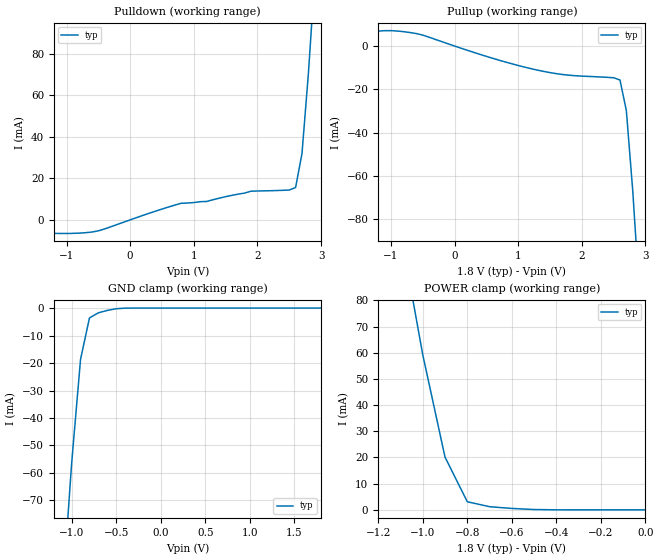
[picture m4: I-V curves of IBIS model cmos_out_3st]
| [Disclaimer]
| [Copyright] copyright (c)2010 Analog Devices, All rights reserved.
| From ad9361_1p8_cmos_r2.ibs, AD9361, Analog Devices
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[model] cmos_out_3st
Model_type 3-state
Cref  =   3.000pF
Rref  =   10kOhm
Vref  =   1.8V
Vmeas =   1.5V
C_comp   4pF   NA   NA
[Voltage Range]   1.800V  NA   NA
[GND Clamp Reference]   0.000V  NA   NA
[POWER Clamp Reference] 1.800V  NA   NA
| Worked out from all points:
|   slope of the pulldown table from 0 to 0.27 V, typ, clamps not added: 93.9 ohm
|   slope of the pullup table from 0 to 0.27 V, typ, clamps not added: 102 ohm
|   GND clamp passes 1 mA (typ) near -0.62 V on its own axis
|   POWER clamp passes 1 mA (typ) near -0.67 V on its own axis
[GND Clamp]
| Voltage  I(typ)   I(min)  I(max)
-1.8V     -472.8mA   NA         NA
-1.1V     -103.1mA   NA         NA
-1V       -56.47mA   NA         NA
-900mV    -18.66mA   NA         NA
-800mV    -3.584mA   NA         NA
-700mV    -1.725mA   NA         NA
-500mV    -242.9uA   NA         NA
-400mV    -23.56uA   NA         NA
1.8V      60pA       NA         NA
[POWER Clamp]
| Voltage  I(typ)   I(min)  I(max)
-1.8V     477.8mA    NA         NA
-1.1V     106.5mA    NA         NA
-1V       59.26mA    NA         NA
-900mV    20.15mA    NA         NA
-800mV    3.092mA    NA         NA
-700mV    1.208mA    NA         NA
-500mV    127uA      NA         NA
0V        60pA       NA         NA
[Pulldown]
| Voltage  I(typ)   I(min)  I(max)
-1.8V     -4.859mA   NA         NA
-1.2V     -6.522mA   NA         NA
-600mV    -5.868mA   NA         NA
800mV     7.998mA    NA         NA
1.2V      8.861mA    NA         NA
1.9V      13.83mA    NA         NA
2.5V      14.37mA    NA         NA
2.6V      15.61mA    NA         NA
2.7V      31.92mA    NA         NA
2.8V      70.16mA    NA         NA
2.9V      116.3mA    NA         NA
3.6V      481.6mA    NA         NA
[Pullup]
| Voltage  I(typ)   I(min)  I(max)
-1.8V     4.695mA    NA         NA
-1.1V     7.097mA    NA         NA
-700mV    6.238mA    NA         NA
700mV     -6.546mA   NA         NA
1.3V      -11.12mA   NA         NA
1.8V      -13.49mA   NA         NA
2.5V      -14.67mA   NA         NA
2.6V      -15.69mA   NA         NA
2.7V      -29.85mA   NA         NA
2.8V      -66.67mA   NA         NA
2.9V      -112.3mA   NA         NA
3.6V      -477.6mA   NA         NA
[Ramp]
|   typ   min   max
dV/dt_r   1.18V/.14553ns   NA   NA
dV/dt_f   1.18V/.14638ns   NA   NA
R_load=10k
|----------------End of cmos_out_3st Model-----------------*******-----------
